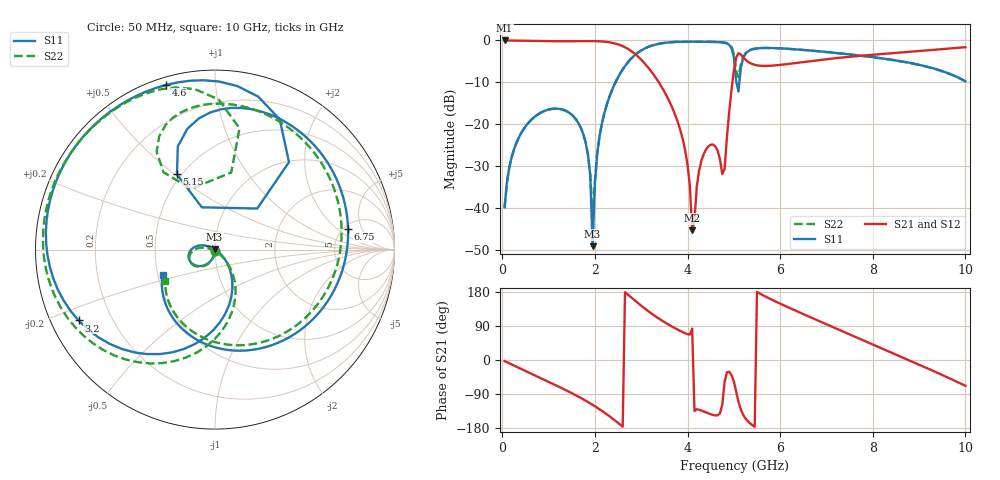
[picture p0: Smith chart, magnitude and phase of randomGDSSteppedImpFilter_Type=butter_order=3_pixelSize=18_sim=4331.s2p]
! freq	dB(S11)	phase(S11)	dB(S12)	phase(S12)
!  dB(S21)	phase(S21)	dB(S22)	phase(S22)
!S-par simulation data
#  GHz  S  DB  R 50
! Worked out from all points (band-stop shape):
!   200 points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, 50 MHz to 10 GHz, reference 50 ohm
!   highest |S21| = -0.01 dB at 50 MHz (marker M1); lowest = -45.2 dB at 4.1 GHz (marker M2)
!   |S21| within 3 dB of the highest: start of sweep to 2.842 GHz; 8.455 GHz to end of sweep
!   lowest |S11| = -49.0 dB at 1.95 GHz (marker M3), VSWR 1.01, Z = 49.8 + j0.288 ohm
!   |S11| at or under -10 dB: start of sweep to 2.443 GHz; 5.057 GHz to 5.119 GHz (62.76 MHz wide, 1.23 % of centre)
!   |S22| runs from -41.7 to -0.3 dB; largest |S21 - S12| = 0
!   S11 on the Smith chart (normalised r, x): 50 MHz: 1.00, -0.02; 3.2 GHz: 0.08, -0.24; 4.6 GHz: 0.03, +0.74; 5.15 GHz: 0.47, +0.51; 6.75 GHz: 5.45, +2.88; 10 GHz: 0.53, -0.17
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0.05  -39.76 -91.9  -0.01 -2.9  -0.01 -2.9  -39.76 -91.7
0.25  -26.04 -105.0  -0.03 -14.4  -0.03 -14.4  -26.03 -104.2
0.65  -18.65 -129.0  -0.11 -37.3  -0.11 -37.3  -18.65 -126.7
1.75  -22.35 161.6  -0.16 -103.9  -0.16 -103.9  -22.35 172.1
1.9  -32.25 148.9  -0.15 -114.5  -0.15 -114.5  -32.00 173.9
1.95  -49.00 125.4  -0.16 -118.2  -0.16 -118.2  -41.66 -137.4
2.05  -26.95 -38.9  -0.19 -125.9  -0.19 -125.9  -26.73 -44.5
2.25  -15.53 -57.0  -0.35 -142.6  -0.35 -142.6  -15.49 -53.9
3.2  -1.34 -152.5  -7.14 124.5  -7.14 124.5  -1.33 -142.7
3.4  -0.77 -170.0  -10.33 107.7  -10.33 107.7  -0.75 -159.1
3.9  -0.31 153.2  -23.69 73.3  -23.69 73.3  -0.29 166.8
4.1  -0.29 140.1  -45.25 82.8  -45.25 82.8  -0.27 154.8
4.3  -0.31 127.2  -28.64 -133.5  -28.64 -133.5  -0.29 143.1
4.6  -0.38 106.6  -25.23 -146.2  -25.23 -146.2  -0.35 124.8
4.8  -0.57 88.6  -30.61 -58.3  -30.61 -58.3  -0.50 109.2
5.05  -9.68 44.2  -4.09 -82.9  -4.09 -82.9  -7.15 78.1
5.15  -6.56 116.8  -3.34 -130.7  -3.34 -130.7  -5.73 123.6
5.55  -1.86 76.2  -6.00 176.2  -6.00 176.2  -1.83 94.2
6.7  -2.45 11.4  -4.87 110.4  -4.87 110.4  -2.45 32.6
6.75  -2.50 8.8  -4.80 107.7  -4.80 107.7  -2.50 29.9
8.35  -4.50 -69.7  -3.10 22.4  -3.10 22.4  -4.54 -56.2
10  -9.75 -153.9  -1.61 -68.0  -1.61 -68.0  -9.72 -147.9
